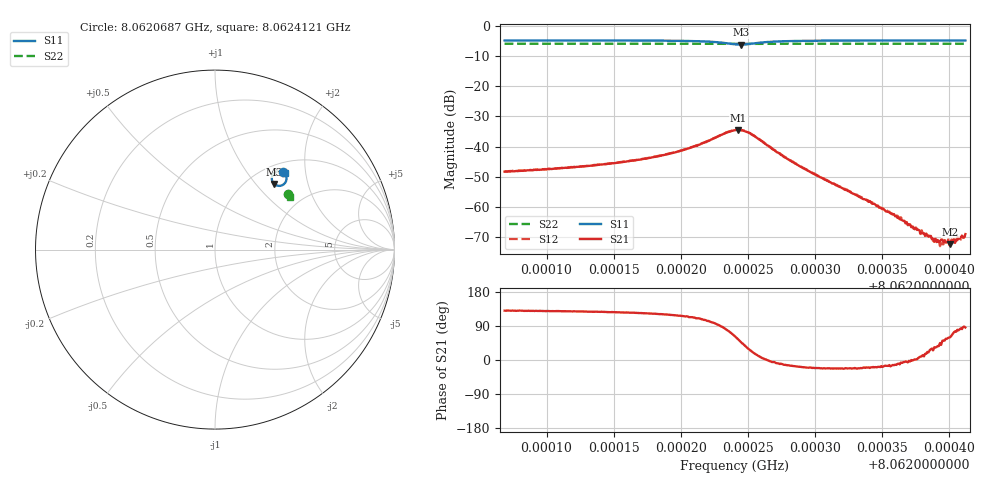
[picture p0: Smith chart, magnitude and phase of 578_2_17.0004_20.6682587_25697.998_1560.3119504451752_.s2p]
#  HZ  S  RI  R  50.00
! Rohde & Schwarz Vector Network Analyzer
! Rohde-Schwarz,ZNB20-2Port,1311601062101988,3.16
! Created: UTC 3/20/2024, 11:18:00 PM
! freq[Hz]  re:S11  im:S11  re:S21  im:S21  re:S12  im:S12  re:S22  im:S22
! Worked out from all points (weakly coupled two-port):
!   401 points, 8.0620687 GHz to 8.0624121 GHz, reference 50 ohm
!   highest |S21| = -34.45 dB at 8.062243 GHz (marker M1); lowest = -72.3 dB at 8.0624009 GHz (marker M2)
!   lowest |S11| = -6.2 dB at 8.0622447 GHz (marker M3), VSWR 2.94, Z = 65 + j62.7 ohm
!   |S11| at or under -10 dB: nowhere
!   |S22| runs from -5.9 to -5.9 dB; largest |S21 - S12| = 0.0012
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8.06206875e9  0.3816 0.4314  -0.00248 0.00292  -0.00233 0.0031  0.4051 0.3077
8.06212626e9  0.3873 0.4255  -0.00289 0.00367  -0.00268 0.00388  0.4072 0.3046
8.06215287e9  0.3905 0.4213  -0.00317 0.00436  -0.00293 0.00453  0.4082 0.3032
8.06218377e9  0.395 0.4129  -0.00359 0.00594  -0.0033 0.00622  0.4093 0.3012
8.06220695e9  0.3984 0.3995  -0.00373 0.00875  -0.00322 0.00899  0.41 0.2995
8.06222755e9  0.3897 0.3707  -0.000832 0.0146  -2.33e-05 0.0147  0.41 0.2973
8.06224042e9  0.3485 0.3559  0.00862 0.0165  0.00961 0.0161  0.4084 0.2966
8.062243e9  0.337 0.3605  0.0112 0.0153  0.0122 0.0147  0.4081 0.2969
8.06224472e9  0.3299 0.3654  0.0125 0.0139  0.0133 0.0134  0.4078 0.2971
8.06225244e9  0.3164 0.3974  0.0147 0.00636  0.0152 0.00572  0.4078 0.2984
8.06227819e9  0.3511 0.4366  0.00633 -0.00151  0.0063 -0.0019  0.4108 0.2983
8.06229794e9  0.3654 0.4365  0.00339 -0.00131  0.00338 -0.00148  0.4122 0.2973
8.06235545e9  0.3811 0.4302  0.00079 -0.000187  0.000787 -0.000269  0.4148 0.294
8.06236489e9  0.3825 0.4294  0.000597 -8.13e-05  0.000596 -0.000162  0.415 0.2934
8.06238034e9  0.3845 0.4282  0.000355 8.12e-05  0.000355 6.14e-05  0.4154 0.2926
8.06238377e9  0.3849 0.4279  0.000309 0.00012  0.000328 5.24e-05  0.4157 0.2923
8.06238721e9  0.3852 0.4276  0.000253 0.000148  0.000286 9.42e-05  0.4159 0.2923
8.06239064e9  0.3857 0.4272  0.000216 0.000147  0.000258 0.000148  0.4161 0.292
8.06239407e9  0.3861 0.4271  0.000219 0.000185  0.000196 0.00019  0.4161 0.2919
8.06240094e9  0.3867 0.4265  0.000119 0.000212  0.000136 0.000208  0.4163 0.2916
8.06240609e9  0.3874 0.4261  4.96e-05 0.000274  6.39e-05 0.000307  0.4164 0.2913
8.0624121e9  0.3879 0.4257  2.58e-05 0.000352  3.27e-05 0.000307  0.4167 0.2909
